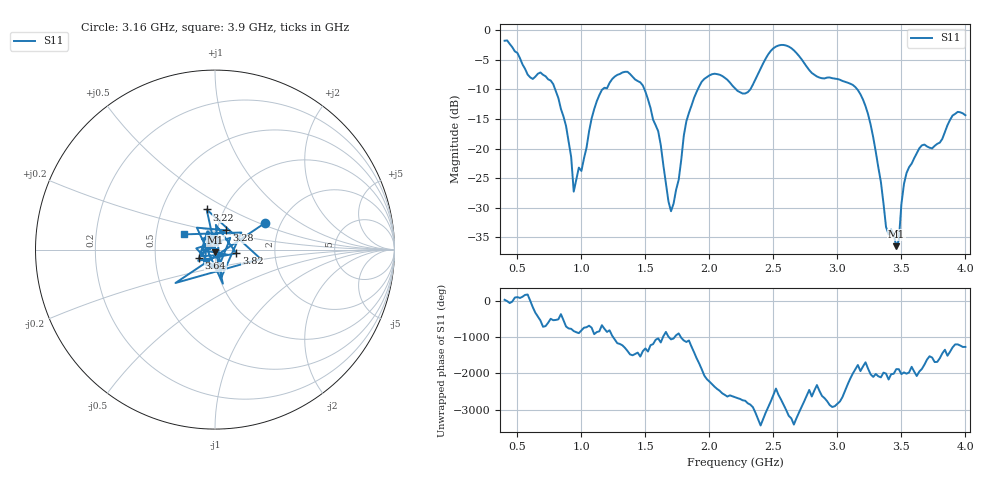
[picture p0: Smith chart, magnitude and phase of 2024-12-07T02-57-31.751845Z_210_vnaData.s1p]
!Created with skrf (http://scikit-rf.org).
# Hz S RI R 50.0
!freq ReS11 ImS11
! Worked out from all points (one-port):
!   181 points, 400 MHz to 4 GHz, reference 50 ohm
!   lowest |S11| = -36.5 dB at 3.46 GHz (marker M1), VSWR 1.03, Z = 50.1 - j1.5 ohm
!   |S11| at or under -10 dB: 795.7 MHz to 1.164 GHz (368.1 MHz wide, 37.6 % of centre); 1.493 GHz to 1.909 GHz (415.9 MHz wide, 24.4 % of centre); 3.156 GHz to end of sweep (the widest 3 of 4)
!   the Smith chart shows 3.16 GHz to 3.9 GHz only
!   S11 on the Smith chart (normalised r, x): 3.16 GHz: 1.65, +0.54; 3.22 GHz: 0.83, +0.39; 3.28 GHz: 1.11, +0.24; 3.64 GHz: 0.83, -0.08; 3.82 GHz: 1.27, -0.05; 3.9 GHz: 0.70, +0.12
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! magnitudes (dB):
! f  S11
! 400 MHz  -1.8
! 760 MHz  -8.5
! 860 MHz  -14.6
! 920 MHz  -21.4
! 940 MHz  -27.3
! 1.12 GHz  -12.0
! 1.3 GHz  -7.4
! 1.5 GHz  -10.4
! 1.6 GHz  -17.1
! 1.7 GHz  -30.6
! 1.76 GHz  -25.3
! 1.82 GHz  -15.4
! 1.94 GHz  -8.7
! 2.2 GHz  -9.8
! 2.3 GHz  -10.5
! 2.52 GHz  -2.7
! 2.66 GHz  -3.4
! 3.1 GHz  -9.0
! 3.16 GHz  -10.1
! 3.22 GHz  -12.8
! 3.28 GHz  -18.1
! 3.38 GHz  -33.3
! 3.46 GHz  -36.5
! 3.56 GHz  -23.1
! 3.64 GHz  -19.9
! 3.82 GHz  -18.3
! 3.9 GHz  -14.4
! 4 GHz  -14.4
